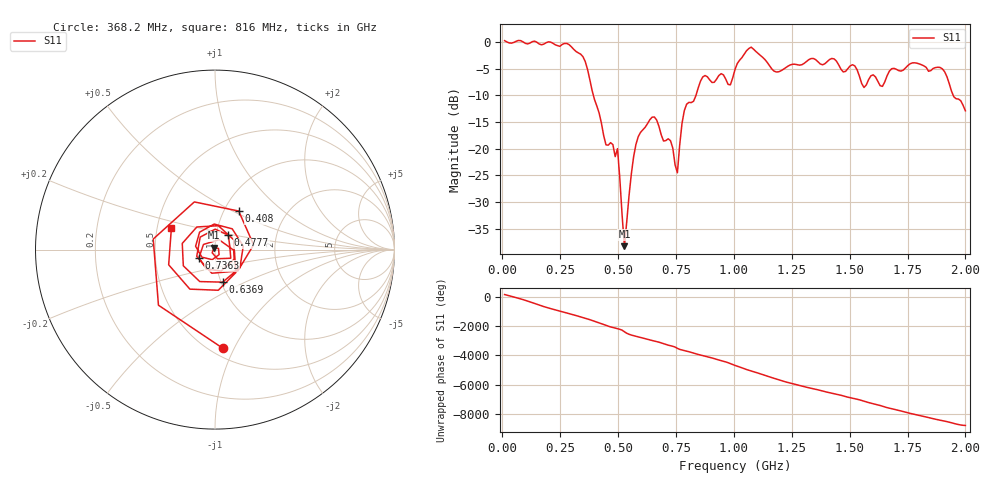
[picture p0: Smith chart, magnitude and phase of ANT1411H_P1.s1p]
!Created with skrf (http://scikit-rf.org).
# Hz S RI R 50.0
!freq ReS11 ImS11
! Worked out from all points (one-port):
!   201 points, 10 MHz to 2 GHz, reference 50 ohm
!   lowest |S11| = -38.2 dB at 527.4 MHz (marker M1), VSWR 1.02, Z = 49.4 + j1.06 ohm
!   |S11| at or under -10 dB: 393.4 MHz to 836.5 MHz (443.2 MHz wide, 72.1 % of centre); 1.947 GHz to end of sweep
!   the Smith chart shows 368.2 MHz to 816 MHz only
!   S11 on the Smith chart (normalised r, x): 368.2 MHz: 0.57, -0.91; 408 MHz: 1.17, +0.54; 477.6 MHz: 1.14, +0.19; 636.9 MHz: 1.02, -0.38; 736.4 MHz: 0.83, -0.08; 816 MHz: 0.59, +0.15
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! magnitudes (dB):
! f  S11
! 10 MHz  0.2
! 258.8 MHz  -0.5
! 368.2 MHz  -5.2
! 408 MHz  -12.0
! 447.8 MHz  -19.3
! 477.6 MHz  -19.2
! 487.6 MHz  -21.5
! 497.6 MHz  -20.0
! 507.5 MHz  -25.5
! 527.4 MHz  -38.2
! 557.2 MHz  -24.7
! 577.1 MHz  -19.2
! 636.9 MHz  -14.6
! 736.4 MHz  -19.9
! 756.2 MHz  -24.5
! 786.1 MHz  -12.9
! 816 MHz  -11.4
! 865.7 MHz  -6.6
! 985.1 MHz  -8.0
! 1.005 GHz  -5.2
! 1.075 GHz  -1.0
! 1.174 GHz  -5.5
! 1.254 GHz  -4.2
! 1.502 GHz  -4.5
! 1.562 GHz  -8.5
! 1.751 GHz  -4.4
! 1.901 GHz  -5.0
! 2 GHz  -12.9
